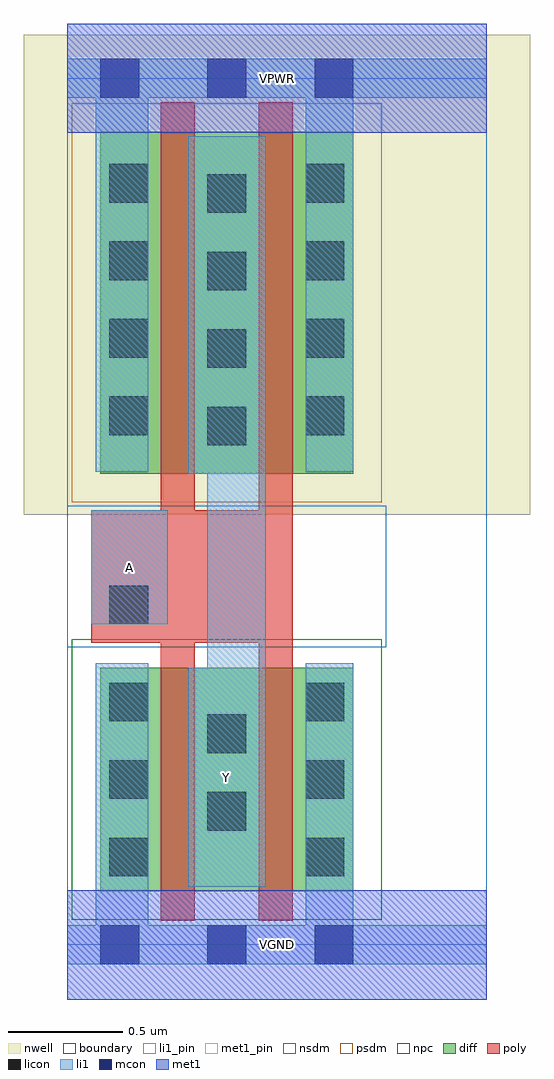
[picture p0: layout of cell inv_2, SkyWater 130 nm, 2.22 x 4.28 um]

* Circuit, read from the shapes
.subckt inv_2 A VGND VPWR Y
XM1 Y A VGND VSUBS sky130_fd_pr__nfet_01v8 w=0.98 l=0.15 m=2
XM2 Y A VPWR n1 sky130_fd_pr__pfet_01v8 w=1.5 l=0.15 m=2
.ends

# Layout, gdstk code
import gdstk
lib = gdstk.Library(unit=1e-6, precision=1e-09)
def R(c, l, rs):  # rectangles x0, y0, x1, y1
    for r in rs: c.add(gdstk.rectangle(r[:2], r[2:], *l))
def A(c, l, x, y, w, h, nx, ny, dx, dy):  # array of equal rectangles
    R(c, l, [(x+i*dx, y+j*dy, x+i*dx+w, y+j*dy+h) for i in range(nx) for j in range(ny)])
nwell = (64, 20)
diff = (65, 20)
poly = (66, 20)
licon = (66, 44)
li1_pin = (67, 16)
li1 = (67, 20)
mcon = (67, 44)
met1_pin = (68, 16)
met1 = (68, 20)
nsdm = (93, 44)
psdm = (94, 20)
npc = (95, 20)
boundary = (235, 4)

inv_2 = lib.new_cell('inv_2')
R(inv_2, nwell, [(-0.19,1.885,2.03,3.99), (0,1.885,1.84,3.99)])
R(inv_2, diff, [(0.145,0.235,1.255,1.215), (0.145,2.065,1.255,3.565)])
R(inv_2, poly, [(0.41,0.105,0.56,3.695), (0.84,0.105,0.99,3.695), (0.105,1.325,0.99,1.905)])
A(inv_2, licon, 0.185, 0.3, 0.17, 0.17, 1, 3, 0, 0.34)
A(inv_2, licon, 1.045, 0.3, 0.17, 0.17, 1, 3, 0, 0.34)
A(inv_2, licon, 0.615, 2.19, 0.17, 0.17, 1, 4, 0, 0.34)
A(inv_2, licon, 0.185, 2.235, 0.17, 0.17, 1, 4, 0, 0.34)
A(inv_2, licon, 1.045, 2.235, 0.17, 0.17, 1, 4, 0, 0.34)
R(inv_2, licon, [(0.615,0.5,0.785,0.67), (0.615,0.84,0.785,1.01), (0.185,1.405,0.355,1.575)])
R(inv_2, li1_pin, [(0.53,0.255,0.87,1.215), (0.105,1.405,0.44,1.905)])
R(inv_2, li1, [(0,-0.085,1.84,0.085), (0.125,-0.085,0.355,1.235), (1.045,-0.085,1.255,1.235), (0.53,0.255,0.87,1.215), (0.615,0.255,0.87,3.545), (0.105,1.405,0.44,1.905), (0.53,2.065,0.87,3.545), (0.125,2.075,0.355,3.885), (1.045,2.075,1.255,3.885), (0,3.715,1.84,3.885)])
A(inv_2, mcon, 0.145, -0.085, 0.17, 0.17, 3, 2, 0.47, 3.8)
R(inv_2, met1_pin, [(0,-0.24,1.84,0.24), (0,3.56,1.84,4.04)])
R(inv_2, met1, [(0,-0.24,1.84,0.24), (0,3.56,1.84,4.04)])
R(inv_2, nsdm, [(0.02,0.11,1.38,1.34)])
R(inv_2, psdm, [(0.02,1.94,1.38,3.69)])
R(inv_2, npc, [(0,1.305,1.4,1.925)])
R(inv_2, boundary, [(0,0,1.84,3.8)])
inv_2.add(gdstk.Label('A', (0.272,1.655), layer=67, texttype=5))
inv_2.add(gdstk.Label('Y', (0.7,0.735), layer=67, texttype=5))
inv_2.add(gdstk.Label('VPWR', (0.92,3.8), layer=68, texttype=5))
inv_2.add(gdstk.Label('VGND', (0.92,0), layer=68, texttype=5))
inv_2.add(gdstk.Label('A', (0.272,1.655), layer=67, texttype=16))
inv_2.add(gdstk.Label('Y', (0.7,0.735), layer=67, texttype=16))
inv_2.add(gdstk.Label('VPWR', (0.92,3.8), layer=68, texttype=16))
inv_2.add(gdstk.Label('VGND', (0.92,0), layer=68, texttype=16))

lib.write_gds('inv_2.gds')
